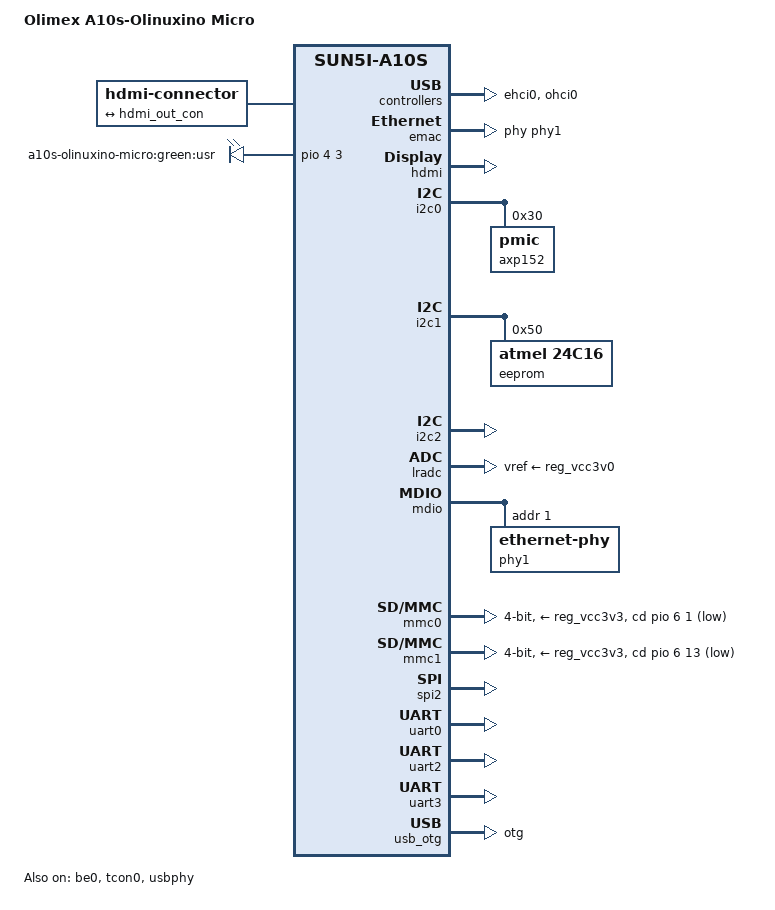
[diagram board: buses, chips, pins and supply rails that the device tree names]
/*
 * Copyright 2013 Maxime Ripard
 *
 * Maxime Ripard <maxime.ripard@free-electrons.com>
 *
 * This file is dual-licensed: you can use it either under the terms
 * of the GPL or the X11 license, at your option. Note that this dual
 * licensing only applies to this file, and not this project as a
 * whole.
 *
 *  a) This file is free software; you can redistribute it and/or
 *     modify it under the terms of the GNU General Public License as
 *     published by the Free Software Foundation; either version 2 of the
 *     License, or (at your option) any later version.
 *
 *     This file is distributed in the hope that it will be useful,
 *     but WITHOUT ANY WARRANTY; without even the implied warranty of
 *     MERCHANTABILITY or FITNESS FOR A PARTICULAR PURPOSE.  See the
 *     GNU General Public License for more details.
 *
 * Or, alternatively,
 *
 *  b) Permission is hereby granted, free of charge, to any person
 *     obtaining a copy of this software and associated documentation
 *     files (the "Software"), to deal in the Software without
 *     restriction, including without limitation the rights to use,
 *     copy, modify, merge, publish, distribute, sublicense, and/or
 *     sell copies of the Software, and to permit persons to whom the
 *     Software is furnished to do so, subject to the following
 *     conditions:
 *
 *     The above copyright notice and this permission notice shall be
 *     included in all copies or substantial portions of the Software.
 *
 *     THE SOFTWARE IS PROVIDED "AS IS", WITHOUT WARRANTY OF ANY KIND,
 *     EXPRESS OR IMPLIED, INCLUDING BUT NOT LIMITED TO THE WARRANTIES
 *     OF MERCHANTABILITY, FITNESS FOR A PARTICULAR PURPOSE AND
 *     NONINFRINGEMENT. IN NO EVENT SHALL THE AUTHORS OR COPYRIGHT
 *     HOLDERS BE LIABLE FOR ANY CLAIM, DAMAGES OR OTHER LIABILITY,
 *     WHETHER IN AN ACTION OF CONTRACT, TORT OR OTHERWISE, ARISING
 *     FROM, OUT OF OR IN CONNECTION WITH THE SOFTWARE OR THE USE OR
 *     OTHER DEALINGS IN THE SOFTWARE.
 */

/dts-v1/;
#include "sun5i-a10s.dtsi"
#include "sunxi-common-regulators.dtsi"

#include <dt-bindings/gpio/gpio.h>
#include <dt-bindings/input/input.h>

/ {
	model = "Olimex A10s-Olinuxino Micro";
	compatible = "olimex,a10s-olinuxino-micro", "allwinner,sun5i-a10s";

	aliases {
		serial0 = &uart0;
		serial1 = &uart2;
		serial2 = &uart3;
	};

	chosen {
		stdout-path = "serial0:115200n8";
	};

	connector {
		compatible = "hdmi-connector";
		type = "a";

		port {
			hdmi_con_in: endpoint {
				remote-endpoint = <&hdmi_out_con>;
			};
		};
	};

	leds {
		compatible = "gpio-leds";
		pinctrl-names = "default";
		pinctrl-0 = <&led_pins_olinuxino>;

		green {
			label = "a10s-olinuxino-micro:green:usr";
			gpios = <&pio 4 3 GPIO_ACTIVE_HIGH>;
			default-state = "on";
		};
	};
};

&be0 {
	status = "okay";
};

&ehci0 {
	status = "okay";
};

&emac {
	pinctrl-names = "default";
	pinctrl-0 = <&emac_pa_pins>;
	phy-handle = <&phy1>;
	status = "okay";
};

&emac_sram {
	status = "okay";
};

&hdmi {
	status = "okay";
};

&hdmi_out {
	hdmi_out_con: endpoint {
		remote-endpoint = <&hdmi_con_in>;
	};
};

&i2c0 {
	status = "okay";

	axp152: pmic@30 {
		reg = <0x30>;
		interrupts = <0>;
	};
};

#include "axp152.dtsi"

&i2c1 {
	status = "okay";

	eeprom@50 {
		compatible = "atmel,24c16";
		pagesize = <16>;
		reg = <0x50>;
		read-only;
	};
};

&i2c2 {
	status = "okay";
};

&lradc {
	vref-supply = <&reg_vcc3v0>;
	status = "okay";

	button-191 {
		label = "Volume Up";
		linux,code = <KEY_VOLUMEUP>;
		channel = <0>;
		voltage = <191274>;
	};

	button-392 {
		label = "Volume Down";
		linux,code = <KEY_VOLUMEDOWN>;
		channel = <0>;
		voltage = <392644>;
	};

	button-601 {
		label = "Menu";
		linux,code = <KEY_MENU>;
		channel = <0>;
		voltage = <601151>;
	};

	button-795 {
		label = "Enter";
		linux,code = <KEY_ENTER>;
		channel = <0>;
		voltage = <795090>;
	};

	button-987 {
		label = "Home";
		linux,code = <KEY_HOMEPAGE>;
		channel = <0>;
		voltage = <987387>;
	};
};

&mdio {
	status = "okay";

	phy1: ethernet-phy@1 {
		reg = <1>;
	};
};

&mmc0 {
	vmmc-supply = <&reg_vcc3v3>;
	bus-width = <4>;
	cd-gpios = <&pio 6 1 GPIO_ACTIVE_LOW>; /* PG1 */
	status = "okay";
};

&mmc1 {
	vmmc-supply = <&reg_vcc3v3>;
	bus-width = <4>;
	cd-gpios = <&pio 6 13 GPIO_ACTIVE_LOW>; /* PG13 */
	status = "okay";
};

&ohci0 {
	status = "okay";
};

&otg_sram {
	status = "okay";
};

&pio {
	led_pins_olinuxino: led-pin {
		pins = "PE3";
		function = "gpio_out";
		drive-strength = <20>;
	};
};

&reg_usb0_vbus {
	gpio = <&pio 6 11 GPIO_ACTIVE_HIGH>; /* PG11 */
	status = "okay";
};

&reg_usb1_vbus {
	gpio = <&pio 1 10 GPIO_ACTIVE_HIGH>;
	status = "okay";
};

&spi2 {
	pinctrl-names = "default";
	pinctrl-0 = <&spi2_pb_pins>,
		    <&spi2_cs0_pb_pin>;
	status = "okay";
};

&tcon0 {
	status = "okay";
};

&uart0 {
	pinctrl-names = "default";
	pinctrl-0 = <&uart0_pb_pins>;
	status = "okay";
};

&uart2 {
	pinctrl-names = "default";
	pinctrl-0 = <&uart2_pc_pins>;
	status = "okay";
};

&uart3 {
	pinctrl-names = "default";
	pinctrl-0 = <&uart3_pg_pins>;
	status = "okay";
};

&usb_otg {
	dr_mode = "otg";
	status = "okay";
};

&usbphy {
	usb0_id_det-gpios = <&pio 6 12 (GPIO_ACTIVE_HIGH | GPIO_PULL_UP)>; /* PG12 */
	usb0_vbus-supply = <&reg_usb0_vbus>;
	usb1_vbus-supply = <&reg_usb1_vbus>;
	status = "okay";
};
